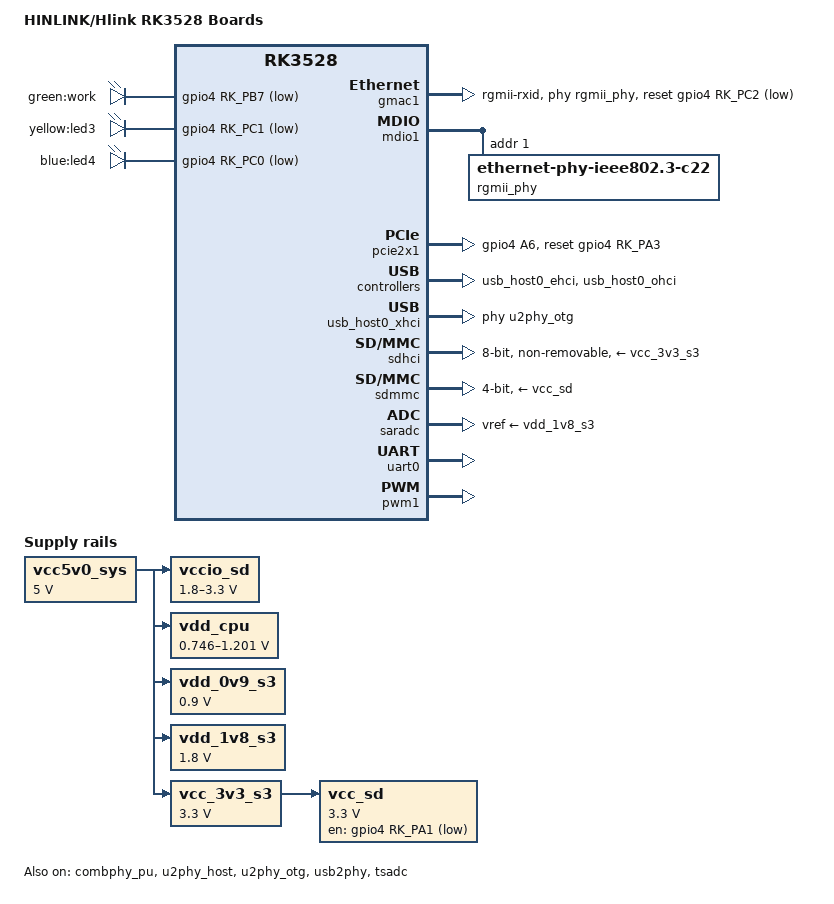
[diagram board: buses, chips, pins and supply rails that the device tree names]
// SPDX-License-Identifier: (GPL-2.0+ OR MIT)
/*
* Copyright (c) 2022 Rockchip Electronics Co., Ltd.
*
*/

#include <rockchip/rk3528.dtsi>
#include <dt-bindings/gpio/gpio.h>
#include <dt-bindings/input/input.h>
#include <dt-bindings/pinctrl/rockchip.h>
#include "rk3528-patch.dtsi"
#include "rk3528-ip.dtsi"

/ {
	model = "HINLINK/Hlink RK3528 Boards";
	compatible = "hinlink,rk3528", "rockchip,rk3528";

	aliases {
		ethernet0 = &gmac1;
		/delete-property/ ethernet1;
		/* ethernet1 = &pcie-eth; */

		mmc0 = &sdmmc;
		mmc1 = &sdhci;

		led-boot = &led_work;
		led-failsafe = &led_work;
		led-running = &led_work;
		led-upgrade = &led_work;
	};

	chosen {
		stdout-path = "serial0:1500000n8";
	};

	vcc5v0_sys: vcc5v0-sys {
		compatible = "regulator-fixed";
		regulator-name = "vcc5v0_sys";
		regulator-always-on;
		regulator-boot-on;
		regulator-min-microvolt = <5000000>;
		regulator-max-microvolt = <5000000>;
	};

	/omit-if-no-ref/
	vccio_sd: vccio-sd {
		compatible = "regulator-gpio";
		regulator-name = "vccio_sd";
		regulator-min-microvolt = <1800000>;
		regulator-max-microvolt = <3300000>;
		gpios = <&gpio4 RK_PB6 GPIO_ACTIVE_HIGH>;
		vin-supply = <&vcc5v0_sys>;
		states = <1800000 0x0
			3300000 0x1>;
	};

	vdd_logic: vdd-logic {
		compatible = "pwm-regulator";
		pwms = <&pwm2 0 5000 1>;
		regulator-name = "vdd_logic";
		regulator-min-microvolt = <705000>;
		regulator-max-microvolt = <1006000>;
		regulator-init-microvolt = <900000>;
		regulator-always-on;
		regulator-boot-on;
		regulator-ramp-delay = <6001>;
		regulator-settling-time-up-us = <250>;
		pwm-supply = <&vcc5v0_sys>;
		status = "okay";
	};

	vdd_cpu: vdd-cpu {
		compatible = "pwm-regulator";
		pwms = <&pwm1 0 5000 1>;
		regulator-name = "vdd_cpu";
		regulator-min-microvolt = <746000>;
		regulator-max-microvolt = <1201000>;
		regulator-init-microvolt = <953000>;
		regulator-always-on;
		regulator-boot-on;
		regulator-ramp-delay = <6001>;
		regulator-settling-time-up-us = <250>;
		pwm-supply = <&vcc5v0_sys>;
		status = "okay";
	};

	vdd_0v9_s3: vdd-0v9-s3 {
		compatible = "regulator-fixed";
		regulator-name = "vdd_0v9_s3";
		regulator-always-on;
		regulator-boot-on;
		regulator-min-microvolt = <900000>;
		regulator-max-microvolt = <900000>;
		vin-supply = <&vcc5v0_sys>;
	};

	vdd_1v8_s3: vdd-1v8-s3 {
		compatible = "regulator-fixed";
		regulator-name = "vdd_1v8_s3";
		regulator-always-on;
		regulator-boot-on;
		regulator-min-microvolt = <1800000>;
		regulator-max-microvolt = <1800000>;
		vin-supply = <&vcc5v0_sys>;
	};

	vcc_3v3_s3: vcc-3v3-s3 {
		compatible = "regulator-fixed";
		regulator-name = "vcc_3v3_s3";
		regulator-always-on;
		regulator-boot-on;
		regulator-min-microvolt = <3300000>;
		regulator-max-microvolt = <3300000>;
		vin-supply = <&vcc5v0_sys>;
	};

	/omit-if-no-ref/
	vcc_sd: vcc-sd {
		compatible = "regulator-fixed";
		gpio = <&gpio4 RK_PA1 GPIO_ACTIVE_LOW>;
		regulator-name = "vcc_sd";
		regulator-min-microvolt = <3300000>;
		regulator-max-microvolt = <3300000>;
		vin-supply = <&vcc_3v3_s3>;
	};

	leds {
		compatible = "gpio-leds";
		pinctrl-names = "default";
		pinctrl-0 =
			<&led_work_en>,
			<&led_yellow_en>,
			<&led_blue_en>;

		led_work: led-work {
			gpios = <&gpio4 RK_PB7 GPIO_ACTIVE_LOW>;
			label = "green:work";
			linux,default-trigger = "heartbeat";
		};
		led-yellow {
			gpios = <&gpio4 RK_PC1 GPIO_ACTIVE_LOW>;
			label = "yellow:led3";
		};
		led-blue {
			gpios = <&gpio4 RK_PC0 GPIO_ACTIVE_LOW>;
			label = "blue:led4";
		};
	};
};

&gmac1 {
	/* Use rgmii-rxid mode to disable rx delay inside Soc */
	phy-mode = "rgmii-rxid";
	clock_in_out = "output";

	snps,reset-gpio = <&gpio4 RK_PC2 GPIO_ACTIVE_LOW>;
	snps,reset-active-low;
	/* Reset time is 20ms, 100ms for rtl8211f */
	snps,reset-delays-us = <0 20000 100000>;

	tx_delay = <0x3b>;
	/* rx_delay = <0x3f>; */

	pinctrl-names = "default";
	pinctrl-0 = <&rgmii_miim
			&rgmii_tx_bus2
			&rgmii_rx_bus2
			&rgmii_rgmii_clk
			&rgmii_rgmii_bus>;

	phy-handle = <&rgmii_phy>;
	status = "okay";
};

&mdio1 {
	rgmii_phy: phy@1 {
		compatible = "ethernet-phy-ieee802.3-c22";
		reg = <0x1>;
	};
};

&combphy_pu {
	rockchip,dis-u3otg0-port; /* disable USB3.0 */
	status = "okay";
};

&pcie2x1 {
	pinctrl-names = "default";
	pinctrl-0 = <&rtl8111_isolate>;
	reset-gpios = <&gpio4 RK_PA3 GPIO_ACTIVE_HIGH>;
	status = "okay";
};

&u2phy_host {
	phy-supply = <&vcc5v0_sys>;
	status = "okay";
};

&u2phy_otg {
	vbus-supply = <&vcc5v0_sys>;
	rockchip,vbus-always-on;
	status = "okay";
};

&usb2phy {
	status = "okay";
};

&usb_host0_ehci {
	status = "okay";
};

&usb_host0_ohci {
	status = "okay";
};

&usb_host0_xhci {
	extcon = <&usb2phy>; // only dr_mode = "otg" need this */
	phys = <&u2phy_otg>; /* only USB2.0 */
	phy-names = "usb2-phy"; /* only USB2.0 */
	maximum-speed = "high-speed"; /* only USB2.0 */
	snps,dis_u2_susphy_quirk; /* only USB2.0 */
	status = "okay";
};

&sdhci {
	bus-width = <8>;
	no-sd;
	no-sdio;
	non-removable;
	mmc-hs200-1_8v;
	max-frequency = <200000000>;
	vmmc-supply = <&vcc_3v3_s3>;
	vqmmc-supply = <&vdd_1v8_s3>;
	status = "okay";
};

&sdmmc {
	bus-width = <4>;
	cap-mmc-highspeed;
	cap-sd-highspeed;
	disable-wp;
	max-frequency = <150000000>;
	supports-sd;
	sd-uhs-sdr12;
	sd-uhs-sdr25;
	sd-uhs-sdr50;
	sd-uhs-sdr104;
	vqmmc-supply = <&vccio_sd>;
	vmmc-supply = <&vcc_sd>;
	status = "okay";
};

&saradc {
	status = "okay";
	vref-supply = <&vdd_1v8_s3>;
};

&uart0 {
	pinctrl-names = "default";
	pinctrl-0 = <&uart0m0_xfer>;
	status = "okay";
};

&cpu0 {
	cpu-supply = <&vdd_cpu>;
};

&cpu1 {
	cpu-supply = <&vdd_cpu>;
};

&cpu2 {
	cpu-supply = <&vdd_cpu>;
};

&cpu3 {
	cpu-supply = <&vdd_cpu>;
};

&tsadc {
	status = "okay";
};

&pwm1 {
	pinctrl-names = "default";
	pinctrl-0 = <&pwm1m0_pins>;
	status = "okay";
};

&pwm2 {
	pinctrl-names = "default";
	pinctrl-0 = <&pwm2m0_pins>;
	status = "okay";
};

&pinctrl {
	leds {
		led_work_en: led-work-en {
			rockchip,pins =
				<4 RK_PB7 RK_FUNC_GPIO &pcfg_pull_none>;
		};
		led_yellow_en: led-lan-en {
			rockchip,pins =
				<4 RK_PC1 RK_FUNC_GPIO &pcfg_pull_none>;
		};
		led_blue_en: led-wan-en {
			rockchip,pins =
				<4 RK_PC0 RK_FUNC_GPIO &pcfg_pull_none>;
		};
	};
	pcie {
		rtl8111_isolate: rtl8111-isolate {
			rockchip,pins = 
				<4 RK_PA6 RK_FUNC_GPIO &pcfg_pull_up>;
		};
	};
};

// pwm2 hangs system, disable it
&vdd_logic {
	status = "disabled";
};

&pwm2 {
	status = "disabled";
};
